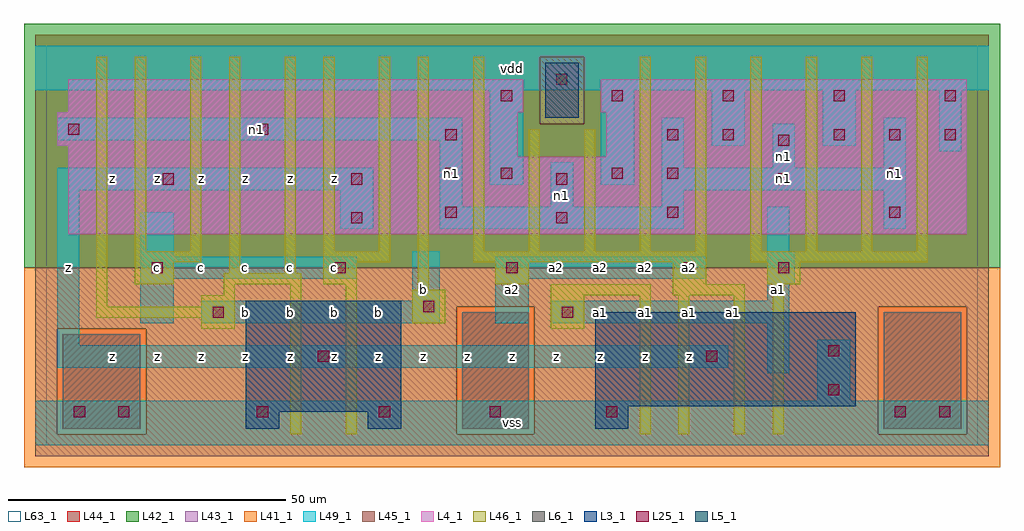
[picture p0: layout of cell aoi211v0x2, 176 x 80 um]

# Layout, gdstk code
import gdstk
lib = gdstk.Library(unit=1e-6, precision=1e-09)
def R(c, l, rs):  # rectangles x0, y0, x1, y1
    for r in rs: c.add(gdstk.rectangle(r[:2], r[2:], *l))
def A(c, l, x, y, w, h, nx, ny, dx, dy):  # array of equal rectangles
    R(c, l, [(x+i*dx, y+j*dy, x+i*dx+w, y+j*dy+h) for i in range(nx) for j in range(ny)])
L3_1 = (3, 1)
L4_1 = (4, 1)
L5_1 = (5, 1)
L6_1 = (6, 1)
L25_1 = (25, 1)
L41_1 = (41, 1)
L42_1 = (42, 1)
L43_1 = (43, 1)
L44_1 = (44, 1)
L45_1 = (45, 1)
L46_1 = (46, 1)
L49_1 = (49, 1)
L63_1 = (63, 1)

aoi211v0x2 = lib.new_cell('aoi211v0x2')
R(aoi211v0x2, L3_1, [(36,3,42,6), (58,3,64,6), (99,3,105,7), (36,6,64,26), (99,7,146,24)])
R(aoi211v0x2, L4_1, [(4,38,166,52), (4,52,85,54), (101,52,166,60), (2,54,85,60), (4,60,86,66), (100,60,166,66)])
R(aoi211v0x2, L5_1, [(90,59,96,69)])
R(aoi211v0x2, L6_1, [(3,3,17,20), (3,3,17,20), (75,3,87,24), (75,3,87,24), (151,3,165,24), (151,3,165,24)])
A(aoi211v0x2, L25_1, 72, 41, 2, 2, 3, 1, 40, 0)
A(aoi211v0x2, L25_1, 142, 55, 2, 2, 3, 1, 10, 0)
A(aoi211v0x2, L25_1, 82, 62, 2, 2, 5, 1, 20, 0)
R(aoi211v0x2, L25_1, [(5,5,7,7), (13,5,15,7), (38,5,40,7), (60,5,62,7), (80,5,82,7), (101,5,103,7), (153,5,155,7), (161,5,163,7), (141,9,143,11), (49,15,51,17), (119,15,121,17), (141,16,143,18), (30,23,32,25), (93,23,95,25), (68,24,70,26), (19,31,21,33), (52,31,54,33), (83,31,85,33), (115,31,117,33), (132,31,134,33), (55,40,57,42), (92,40,94,42), (21,47,23,49), (55,47,57,49), (92,47,94,49), (132,47,134,49), (72,48,74,50), (82,48,84,50), (102,48,104,50), (112,48,114,50), (152,48,154,50), (132,54,134,56), (72,55,74,57), (112,55,114,57), (122,55,124,57), (4,56,6,58), (38,56,40,58), (92,65,94,67)])
R(aoi211v0x2, L41_1, [(-4,-4,172,32)])
R(aoi211v0x2, L42_1, [(-4,32,172,76)])
R(aoi211v0x2, L43_1, [(3,3,17,20), (36,3,42,6), (58,3,64,6), (75,3,87,24), (99,3,105,7), (151,3,165,24), (36,6,64,26), (99,7,146,24), (4,38,166,52), (4,52,85,54), (101,52,166,60), (2,54,85,60), (90,59,96,69), (4,60,86,66), (100,60,166,66)])
R(aoi211v0x2, L44_1, [(2,2,18,21), (74,2,88,25), (150,2,166,25), (-2,32,170,58), (-2,58,89,70), (97,58,170,70), (-2,70,170,74)])
R(aoi211v0x2, L45_1, [(-2,-2,170,2), (-2,2,2,21), (18,2,74,21), (88,2,150,25), (166,2,170,25), (-2,21,74,25), (-2,25,170,32), (89,58,97,70)])
A(aoi211v0x2, L46_1, 107, 35, 2, 35, 6, 1, 10, 0)
R(aoi211v0x2, L46_1, [(44,2,46,29), (54,2,56,29), (107,2,109,27), (114,2,116,27), (124,2,126,27), (131,2,133,29), (28,21,34,23), (91,21,97,27), (66,22,72,28), (9,23,34,25), (9,25,11,70), (28,25,34,27), (32,27,34,29), (91,27,109,29), (113,27,126,29), (67,28,69,70), (16,29,23,33), (32,29,46,31), (50,29,56,33), (81,29,87,33), (113,29,119,33), (130,29,136,33), (33,31,35,70), (43,31,45,70), (16,33,28,35), (50,33,62,35), (77,33,119,35), (127,33,159,35), (16,35,18,70), (26,35,28,70), (50,35,52,70), (60,35,62,70), (77,35,79,70), (87,35,89,57), (97,35,99,57)])
R(aoi211v0x2, L49_1, [(-2,0,170,8), (139,8,145,19), (130,13,134,22), (2,14,123,18), (2,18,6,46), (17,22,23,30), (28,22,71,26), (81,22,87,30), (91,22,134,26), (66,26,71,35), (130,26,134,29), (130,29,135,35), (17,30,56,34), (81,30,119,34), (17,34,23,42), (130,35,134,43), (53,39,59,46), (71,39,115,43), (151,39,155,46), (71,43,75,55), (91,43,95,51), (111,43,115,46), (2,46,59,50), (111,46,155,50), (80,47,86,64), (100,47,106,64), (111,50,115,59), (131,50,135,58), (151,50,155,59), (161,53,165,64), (120,54,126,64), (140,54,146,64), (2,55,75,59), (-2,64,170,72)])
R(aoi211v0x2, L63_1, [(0,0,168,72)])
aoi211v0x2.add(gdstk.Label('z', (28,16), layer=49, texttype=1))
aoi211v0x2.add(gdstk.Label('z', (20,16), layer=49, texttype=1))
aoi211v0x2.add(gdstk.Label('z', (12,16), layer=49, texttype=1))
aoi211v0x2.add(gdstk.Label('z', (4,32), layer=49, texttype=1))
aoi211v0x2.add(gdstk.Label('c', (28,32), layer=49, texttype=1))
aoi211v0x2.add(gdstk.Label('c', (20,32), layer=49, texttype=1))
aoi211v0x2.add(gdstk.Label('z', (28,48), layer=49, texttype=1))
aoi211v0x2.add(gdstk.Label('z', (20,48), layer=49, texttype=1))
aoi211v0x2.add(gdstk.Label('z', (12,48), layer=49, texttype=1))
aoi211v0x2.add(gdstk.Label('z', (60,16), layer=49, texttype=1))
aoi211v0x2.add(gdstk.Label('z', (52,16), layer=49, texttype=1))
aoi211v0x2.add(gdstk.Label('z', (44,16), layer=49, texttype=1))
aoi211v0x2.add(gdstk.Label('z', (36,16), layer=49, texttype=1))
aoi211v0x2.add(gdstk.Label('b', (60,24), layer=49, texttype=1))
aoi211v0x2.add(gdstk.Label('b', (52,24), layer=49, texttype=1))
aoi211v0x2.add(gdstk.Label('b', (44,24), layer=49, texttype=1))
aoi211v0x2.add(gdstk.Label('b', (36,24), layer=49, texttype=1))
aoi211v0x2.add(gdstk.Label('c', (52,32), layer=49, texttype=1))
aoi211v0x2.add(gdstk.Label('c', (44,32), layer=49, texttype=1))
aoi211v0x2.add(gdstk.Label('c', (36,32), layer=49, texttype=1))
aoi211v0x2.add(gdstk.Label('z', (52,48), layer=49, texttype=1))
aoi211v0x2.add(gdstk.Label('z', (44,48), layer=49, texttype=1))
aoi211v0x2.add(gdstk.Label('z', (36,48), layer=49, texttype=1))
aoi211v0x2.add(gdstk.Label('vss', (84,4), layer=49, texttype=1))
aoi211v0x2.add(gdstk.Label('z', (92,16), layer=49, texttype=1))
aoi211v0x2.add(gdstk.Label('z', (84,16), layer=49, texttype=1))
aoi211v0x2.add(gdstk.Label('z', (76,16), layer=49, texttype=1))
aoi211v0x2.add(gdstk.Label('z', (68,16), layer=49, texttype=1))
aoi211v0x2.add(gdstk.Label('a2', (92,32), layer=49, texttype=1))
aoi211v0x2.add(gdstk.Label('a2', (84,28), layer=49, texttype=1))
aoi211v0x2.add(gdstk.Label('b', (68,28), layer=49, texttype=1))
aoi211v0x2.add(gdstk.Label('n1', (93,45), layer=49, texttype=1))
aoi211v0x2.add(gdstk.Label('n1', (38,57), layer=49, texttype=1))
aoi211v0x2.add(gdstk.Label('n1', (73,49), layer=49, texttype=1))
aoi211v0x2.add(gdstk.Label('vdd', (84,68), layer=49, texttype=1))
aoi211v0x2.add(gdstk.Label('z', (116,16), layer=49, texttype=1))
aoi211v0x2.add(gdstk.Label('z', (108,16), layer=49, texttype=1))
aoi211v0x2.add(gdstk.Label('z', (100,16), layer=49, texttype=1))
aoi211v0x2.add(gdstk.Label('a1', (100,24), layer=49, texttype=1))
aoi211v0x2.add(gdstk.Label('a1', (124,24), layer=49, texttype=1))
aoi211v0x2.add(gdstk.Label('a1', (116,24), layer=49, texttype=1))
aoi211v0x2.add(gdstk.Label('a1', (108,24), layer=49, texttype=1))
aoi211v0x2.add(gdstk.Label('a2', (116,32), layer=49, texttype=1))
aoi211v0x2.add(gdstk.Label('a2', (108,32), layer=49, texttype=1))
aoi211v0x2.add(gdstk.Label('a1', (132,28), layer=49, texttype=1))
aoi211v0x2.add(gdstk.Label('a2', (100,32), layer=49, texttype=1))
aoi211v0x2.add(gdstk.Label('n1', (133,48), layer=49, texttype=1))
aoi211v0x2.add(gdstk.Label('n1', (133,52), layer=49, texttype=1))
aoi211v0x2.add(gdstk.Label('n1', (153,49), layer=49, texttype=1))

lib.write_gds('aoi211v0x2.gds')
